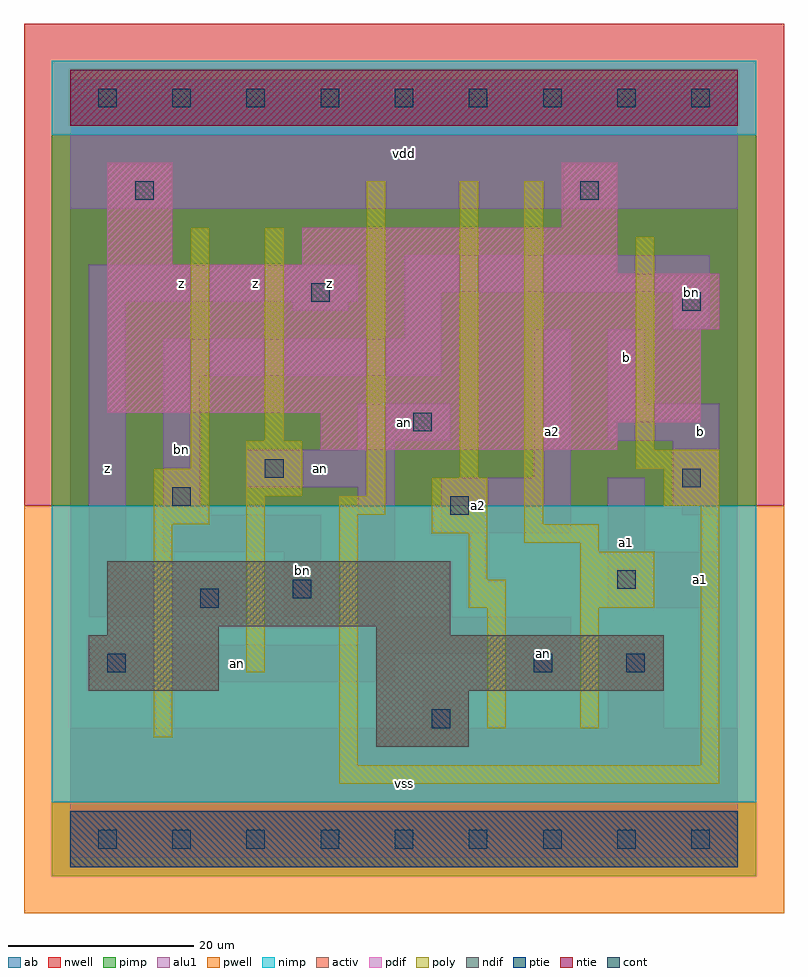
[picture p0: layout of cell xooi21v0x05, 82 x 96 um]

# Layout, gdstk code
import gdstk
lib = gdstk.Library(unit=1e-6, precision=1e-09)
def R(c, l, rs):  # rectangles x0, y0, x1, y1
    for r in rs: c.add(gdstk.rectangle(r[:2], r[2:], *l))
def A(c, l, x, y, w, h, nx, ny, dx, dy):  # array of equal rectangles
    R(c, l, [(x+i*dx, y+j*dy, x+i*dx+w, y+j*dy+h) for i in range(nx) for j in range(ny)])
ndif = (3, 0)
pdif = (4, 0)
ntie = (5, 0)
ptie = (6, 0)
cont = (25, 0)
pwell = (41, 0)
nwell = (42, 0)
activ = (43, 0)
pimp = (44, 0)
nimp = (45, 0)
poly = (46, 0)
alu1 = (49, 0)
ab = (63, 0)

xooi21v0x05 = lib.new_cell('xooi21v0x05')
R(xooi21v0x05, ndif, [(33,10,43,16), (2,16,16,22), (33,16,64,22), (4,22,16,23), (33,22,41,23), (4,23,41,30)])
R(xooi21v0x05, pdif, [(27,42,59,45), (27,45,68,46), (4,46,68,55), (4,55,70,61), (4,61,59,62), (4,62,11,73), (25,62,59,66), (53,66,59,73)])
R(xooi21v0x05, ntie, [(0,77,72,83)])
R(xooi21v0x05, ptie, [(0,-3,72,3)])
A(xooi21v0x05, cont, 3, -1, 2, 2, 9, 2, 8, 80)
R(xooi21v0x05, cont, [(39,12,41,14), (4,18,6,20), (50,18,52,20), (60,18,62,20), (14,25,16,27), (24,26,26,28), (59,27,61,29), (41,35,43,37), (11,36,13,38), (66,38,68,40), (21,39,23,41), (37,44,39,46), (66,57,68,59), (26,58,28,60), (7,69,9,71), (55,69,57,71)])
R(xooi21v0x05, pwell, [(-5,-8,77,36)])
R(xooi21v0x05, nwell, [(-5,36,77,88)])
R(xooi21v0x05, activ, [(0,-3,72,3), (33,10,43,16), (2,16,16,22), (33,16,64,22), (4,22,16,23), (33,22,41,23), (4,23,41,30), (27,42,59,45), (27,45,68,46), (4,46,68,55), (4,55,70,61), (4,61,59,62), (4,62,11,73), (25,62,59,66), (53,66,59,73), (0,77,72,83)])
R(xooi21v0x05, pimp, [(-2,-4,74,4), (-2,36,74,76)])
R(xooi21v0x05, nimp, [(-2,4,74,36), (-2,76,74,84)])
R(xooi21v0x05, poly, [(29,6,70,8), (29,8,31,35), (68,8,70,36), (9,11,11,34), (45,12,47,25), (55,12,57,25), (19,18,21,37), (43,25,47,28), (55,25,63,31), (43,28,45,33), (55,31,57,32), (49,32,57,34), (39,33,45,39), (9,34,15,40), (49,34,51,71), (29,35,34,37), (64,36,70,40), (19,37,25,43), (32,37,34,71), (42,39,44,71), (13,40,15,66), (61,40,70,42), (61,42,63,65), (21,43,23,66)])
R(xooi21v0x05, alu1, [(0,-2,72,12), (38,12,42,16), (58,12,64,21), (2,17,35,20), (48,17,54,20), (2,20,54,21), (31,21,54,24), (2,24,18,28), (23,24,27,31), (31,24,35,38), (58,25,70,31), (2,28,6,58), (10,31,27,35), (58,31,62,39), (40,33,54,39), (10,35,14,50), (66,35,70,36), (65,36,70,43), (19,38,35,42), (50,39,54,55), (31,42,35,43), (31,43,41,47), (58,43,70,47), (58,47,62,55), (10,50,40,54), (36,54,40,59), (65,55,69,59), (24,57,30,58), (2,58,31,62), (36,59,69,63), (0,68,72,82)])
R(xooi21v0x05, ab, [(0,0,72,80)])
xooi21v0x05.add(gdstk.Label('bn', (12,42), layer=49, texttype=0))
xooi21v0x05.add(gdstk.Label('an', (18,19), layer=49, texttype=0))
xooi21v0x05.add(gdstk.Label('bn', (25,29), layer=49, texttype=0))
xooi21v0x05.add(gdstk.Label('an', (27,40), layer=49, texttype=0))
xooi21v0x05.add(gdstk.Label('an', (36,45), layer=49, texttype=0))
xooi21v0x05.add(gdstk.Label('an', (51,20), layer=49, texttype=0))
xooi21v0x05.add(gdstk.Label('bn', (67,59), layer=49, texttype=0))
xooi21v0x05.add(gdstk.Label('z', (4,40), layer=49, texttype=0))
xooi21v0x05.add(gdstk.Label('z', (12,60), layer=49, texttype=0))
xooi21v0x05.add(gdstk.Label('z', (28,60), layer=49, texttype=0))
xooi21v0x05.add(gdstk.Label('z', (20,60), layer=49, texttype=0))
xooi21v0x05.add(gdstk.Label('vss', (36,6), layer=49, texttype=0))
xooi21v0x05.add(gdstk.Label('a2', (44,36), layer=49, texttype=0))
xooi21v0x05.add(gdstk.Label('a2', (52,44), layer=49, texttype=0))
xooi21v0x05.add(gdstk.Label('vdd', (36,74), layer=49, texttype=0))
xooi21v0x05.add(gdstk.Label('a1', (60,32), layer=49, texttype=0))
xooi21v0x05.add(gdstk.Label('a1', (68,28), layer=49, texttype=0))
xooi21v0x05.add(gdstk.Label('b', (68,44), layer=49, texttype=0))
xooi21v0x05.add(gdstk.Label('b', (60,52), layer=49, texttype=0))

lib.write_gds('xooi21v0x05.gds')
